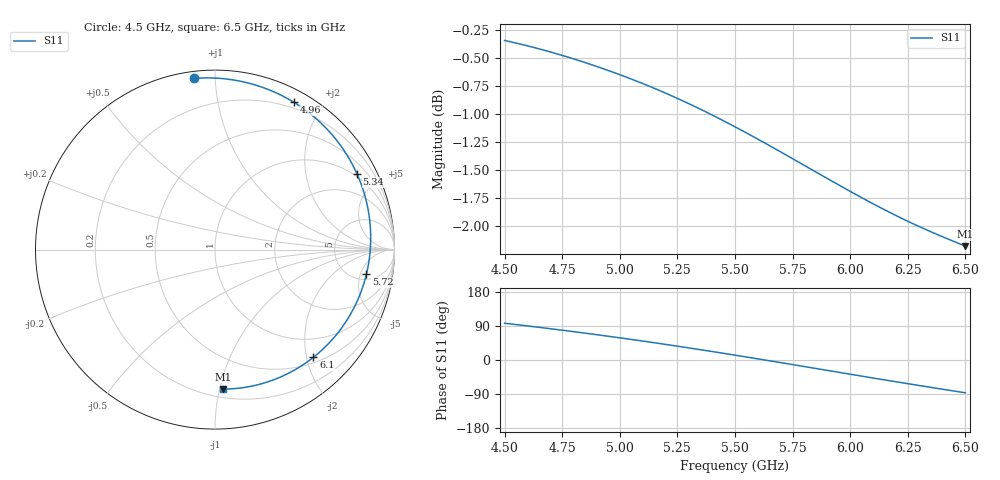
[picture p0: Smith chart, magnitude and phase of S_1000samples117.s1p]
! TOUCHSTONE file generated by CST MICROWAVE STUDIO
! Date and time: Thu Oct 27 01:28:11 2022
! Project name: L.cst
! Parameters = {Di=1.27; Epsilon_r=1.56; InnerDiameter=1.27; Length=2; Lf=10; Lg=60; OuterConductorThickness=0.2921; OuterDiameter=3.6; Wf=3; Wp=41.2; de=1.5; df=6.8; g=0.8; gx=3.71234; gy=4.73401; h=2.34; hf=1.524; px=11.053; py=13.0487; w=9.7; wx=7.34066; wy=8.31471}
! Header version: 2018
! Port assignment regex: !\s*Touchstone port\s*([0-9]+)\s*=\s*(CST MWS port|CST DS port)\s*([0-9]+|Zmin|Zmax)\s*\(\"(.*)\"\)(\s*mode\s*([0-9]+))?.*
! Touchstone port assignment:
! Touchstone port 1 = CST MWS port 1 ("")
# GHz S DB R 50
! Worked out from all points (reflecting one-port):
!   101 points, 4.5 GHz to 6.5 GHz, reference 50 ohm
!   lowest |S11| = -2.2 dB at 6.5 GHz (marker M1), VSWR 8.03, Z = 13 - j51.4 ohm
!   phase of S11 starts at 97 deg and turns -184 deg over the sweep
!   S11 on the Smith chart (normalised r, x): 4.5 GHz: 0.04, +0.88; 4.96 GHz: 0.13, +1.66; 5.34 GHz: 0.88, +3.80; 5.72 GHz: 6.31, -6.35; 6.1 GHz: 0.60, -2.13; 6.5 GHz: 0.26, -1.03
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4.5  -0.35 97.0
4.58  -0.39 91.3
4.64  -0.42 86.9
4.76  -0.49 77.9
4.86  -0.55 70.0
4.96  -0.62 61.8
5  -0.65 58.5
5.12  -0.75 48.2
5.18  -0.80 42.8
5.26  -0.87 35.6
5.34  -0.95 28.1
5.42  -1.03 20.5
5.5  -1.11 12.8
5.56  -1.18 6.9
5.62  -1.25 0.9
5.72  -1.36 -9.1
5.76  -1.41 -13.2
5.82  -1.48 -19.3
5.88  -1.55 -25.3
5.94  -1.62 -31.4
6  -1.69 -37.5
6.1  -1.80 -47.6
6.18  -1.88 -55.6
6.26  -1.96 -63.4
6.32  -2.02 -69.3
6.38  -2.07 -75.1
6.44  -2.12 -80.8
6.5  -2.18 -86.6
